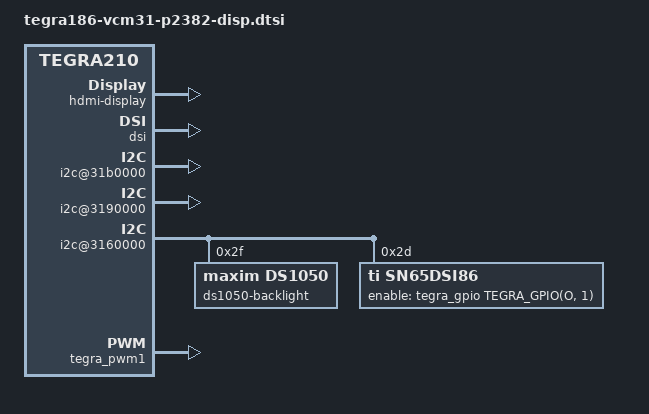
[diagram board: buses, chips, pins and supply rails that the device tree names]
/*
 * tegra186-vcm31-p2382-disp.dtsi: VCM3.1 based P2382(sunstreaker)
 * display dtsi.
 *
 * Copyright (c) 2015-2017, NVIDIA CORPORATION.  All rights reserved.
 *
 * This program is free software; you can redistribute it and/or modify
 * it under the terms of the GNU General Public License as published by
 * the Free Software Foundation; version 2 of the License.
 *
 * This program is distributed in the hope that it will be useful, but WITHOUT
 * ANY WARRANTY; without even the implied warranty of MERCHANTABILITY or
 * FITNESS FOR A PARTICULAR PURPOSE.  See the GNU General Public License for
 * more details.
 */

#include <dt-bindings/display/tegra-dc.h>
#include <dt-bindings/display/tegra-panel.h>

#include "panel-s-wuxga-8-0.dtsi"
#include "tegra210-display-p2393-0000-a00-panel-dsi-1080p.dtsi"
#include "tegra210-display-p2393-0000-a00-panel-dsi-25x16.dtsi"

/ {
	host1x {
		status = "okay";

		nvdisplay@15200000 {
			status = "okay";
			nvidia,dc-flags = <TEGRA_DC_FLAG_ENABLED>;
			nvidia,emc-clk-rate = <300000000>;
			nvidia,fb-bpp = <32>; /* bits per pixel */
			nvidia,fb-win = <0>;
			nvidia,dc-ctrlnum = <0>;
			nvidia,dc-or-node = "/host1x/sor";
		};

		nvdisplay@15210000 {
			status = "okay";
			nvidia,dc-flags = <TEGRA_DC_FLAG_ENABLED>;
			nvidia,emc-clk-rate = <300000000>;
			nvidia,fb-bpp = <32>; /* bits per pixel */
			nvidia,fb-win = <3>;
			nvidia,dc-ctrlnum = <1>;
			nvidia,dc-or-node = "/host1x/sor1";
		};

		sor{
			status = "okay";
			nvidia,xbar-ctrl = <2 1 0 3 4>;
			nvidia,ddc-i2c-bus = <&dp_aux_ch0_i2c>;
			//nvidia,hpd-gpio = <&tegra_gpio TEGRA_GPIO(P, 0) 0>;
			dp-display {
				status = "okay";
				compatible = "dp, display";
				nvidia,is_ext_dp_panel = <1>;

				disp-default-out {
					nvidia,out-type = <TEGRA_DC_OUT_DP>;
                                        nvidia,out-align = <TEGRA_DC_ALIGN_MSB>;
                                        nvidia,out-order = <TEGRA_DC_ORDER_RED_BLUE>;
					nvidia,out-flags = <TEGRA_DC_OUT_HOTPLUG_HIGH>;
                                        nvidia,out-pins = <TEGRA_DC_OUT_PIN_H_SYNC TEGRA_DC_OUT_PIN_POL_LOW
                                                           TEGRA_DC_OUT_PIN_V_SYNC TEGRA_DC_OUT_PIN_POL_LOW
                                                           TEGRA_DC_OUT_PIN_PIXEL_CLOCK TEGRA_DC_OUT_PIN_POL_LOW
                                                           TEGRA_DC_OUT_PIN_DATA_ENABLE TEGRA_DC_OUT_PIN_POL_HIGH>;
					nvidia,out-parent-clk = "plld3";
					nvidia,out-xres = <4096>;
					nvidia,out-yres = <2160>;
				};
				/* default display timing for test
				 * (only the first entry is effective) */
#ifdef CONFIG_ANDROID
				display-timings {
					1920x1080-32 {
						clock-frequency = <148500000>;
						hactive = <1920>;
						vactive = <1080>;
						hfront-porch = <88>;
						hback-porch = <148>;
						hsync-len = <44>;
						vfront-porch = <4>;
						vback-porch = <36>;
						vsync-len = <5>;
						nvidia,h-ref-to-sync = <1>;
						nvidia,v-ref-to-sync = <1>;
					};
				};
#endif
                                lt-data {
					tegra-dp-vs-regs {
						/* postcursor2 L0 */
						pc2_l0 = <
							/* pre-emphasis: L0, L1, L2, L3 */
							0x13 0x19 0x1E 0x28 /* voltage swing: L0 */
							0x1E 0x25 0x2D /* voltage swing: L1 */
							0x28 0x32 /* voltage swing: L2 */
							0x39 /* voltage swing: L3 */
						>;
						/* postcursor2 L1 */
						pc2_l1 = <
							/* pre-emphasis: L0, L1, L2, L3 */
							0x12 0x17 0x1B 0x25 /* voltage swing: L0 */
							0x1C 0x23 0x2A /* voltage swing: L1 */
							0x25 0x2F /* voltage swing: L2 */
							0x37 /* voltage swing: L3 */
						>;
						/* postcursor2 L2 */
						pc2_l2 = <
							/* pre-emphasis: L0, L1, L2, L3 */
							0x12 0x16 0x1A 0x22 /* voltage swing: L0 */
							0x1B 0x20 0x27 /* voltage swing: L1 */
							0x24 0x2D /* voltage swing: L2 */
							0x35 /* voltage swing: L3 */
						>;
						/* postcursor2 L3 */
						pc2_l3 = <
							/* pre-emphasis: L0, L1, L2, L3 */
							0x11 0x14 0x17 0x1F /* voltage swing: L0 */
							0x19 0x1E 0x24 /* voltage swing: L1 */
							0x22 0x2A /* voltage swing: L2 */
							0x32 /* voltage swing: L3 */
						>;
					};

					tegra-dp-pe-regs {
						/* postcursor2 L0 */
						pc2_l0 = <
							/* pre-emphasis: L0, L1, L2, L3 */
							0x00 0x08 0x12 0x24 /* voltage swing: L0 */
							0x01 0x0E 0x1D /* voltage swing: L1 */
							0x01 0x13 /* voltage swing: L2 */
							0x00 /* voltage swing: L3 */
						>;
						/* postcursor2 L1 */
						pc2_l1 = <
							/* pre-emphasis: L0, L1, L2, L3 */
							0x00 0x08 0x12 0x24 /* voltage swing: L0 */
							0x00 0x0E 0x1D /* voltage swing: L1 */
							0x00 0x13 /* voltage swing: L2 */
							0x00 /* voltage swing: L3 */
						>;
						/* postcursor2 L2 */
						pc2_l2 = <
							/* pre-emphasis: L0, L1, L2, L3 */
							0x00 0x08 0x12 0x24 /* voltage swing: L0 */
							0x00 0x0E 0x1D /* voltage swing: L1 */
							0x00 0x13 /* voltage swing: L2 */
							0x00 /* voltage swing: L3 */
						>;
						/* postcursor2 L3 */
						pc2_l3 = <
							/* pre-emphasis: L0, L1, L2, L3 */
							0x00 0x08 0x12 0x24 /* voltage swing: L0 */
							0x00 0x0E 0x1D /* voltage swing: L1 */
							0x00 0x13 /* voltage swing: L2 */
							0x00 /* voltage swing: L3 */
						>;
					};

					tegra-dp-pc-regs {
						/* postcursor2 L0 */
						pc2_l0 = <
							/* pre-emphasis: L0, L1, L2, L3 */
							0x02 0x00 0x00 0x00 /* voltage swing: L0 */
							0x00 0x00 0x00 /* voltage swing: L1 */
							0x00 0x00 /* voltage swing: L2 */
							0x00 /* voltage swing: L3 */
						>;
						/* postcursor2 L1 */
						pc2_l1 = <
							/* pre-emphasis: L0, L1, L2, L3 */
							0x00 0x02 0x04 0x05 /* voltage swing: L0 */
							0x02 0x04 0x05 /* voltage swing: L1 */
							0x04 0x05 /* voltage swing: L2 */
							0x05 /* voltage swing: L3 */
						>;
						/* postcursor2 L2 */
						pc2_l2 = <
							/* pre-emphasis: L0, L1, L2, L3 */
							0x04 0x05 0x08 0x0B /* voltage swing: L0 */
							0x05 0x09 0x0B /* voltage swing: L1 */
							0x08 0x0A /* voltage swing: L2 */
							0x0B /* voltage swing: L3 */
						>;
						/* postcursor2 L3 */
						pc2_l3 = <
							/* pre-emphasis: L0, L1, L2, L3 */
							0x05 0x09 0x0B 0x12 /* voltage swing: L0 */
							0x09 0x0D 0x12 /* voltage swing: L1 */
							0x0B 0x0F /* voltage swing: L2 */
							0x12 /* voltage swing: L3 */
						>;
					};

					tegra-dp-tx-pu {
						/* postcursor2 L0 */
						pc2_l0 = <
							/* pre-emphasis: L0, L1, L2, L3 */
							0x20 0x30 0x40 0x60 /* voltage swing: L0 */
							0x30 0x40 0x60 /* voltage swing: L1 */
							0x40 0x60 /* voltage swing: L2 */
							0x60 /* voltage swing: L3 */
						>;
						/* postcursor2 L1 */
						pc2_l1 = <
							/* pre-emphasis: L0, L1, L2, L3 */
							0x20 0x20 0x30 0x50 /* voltage swing: L0 */
							0x30 0x40 0x50 /* voltage swing: L1 */
							0x40 0x50 /* voltage swing: L2 */
							0x60 /* voltage swing: L3 */
						>;
						/* postcursor2 L2 */
						pc2_l2 = <
							/* pre-emphasis: L0, L1, L2, L3 */
							0x20 0x20 0x30 0x40 /* voltage swing: L0 */
							0x30 0x30 0x40 /* voltage swing: L1 */
							0x40 0x50 /* voltage swing: L2 */
							0x60 /* voltage swing: L3 */
						>;
						/* postcursor2 L3 */
						pc2_l3 = <
							/* pre-emphasis: L0, L1, L2, L3 */
							0x20 0x20 0x20 0x40 /* voltage swing: L0 */
							0x30 0x30 0x40 /* voltage swing: L1 */
							0x40 0x40 /* voltage swing: L2 */
							0x60 /* voltage swing: L3 */
						>;
					};
                                };//lt-data

                                dp-lt-settings {
                                        lt-setting@0 {
                                                nvidia,drive-current = <DRIVE_CURRENT_L0 DRIVE_CURRENT_L0 DRIVE_CURRENT_L0 DRIVE_CURRENT_L0>;
                                                nvidia,lane-preemphasis = <PRE_EMPHASIS_L0 PRE_EMPHASIS_L0 PRE_EMPHASIS_L0 PRE_EMPHASIS_L0>;
                                                nvidia,post-cursor = <POST_CURSOR2_L0 POST_CURSOR2_L0 POST_CURSOR2_L0 POST_CURSOR2_L0>;
                                                nvidia,tx-pu = <0>;
                                                nvidia,load-adj = <0x3>;
                                        };
                                        lt-setting@1 {
                                                nvidia,drive-current = <DRIVE_CURRENT_L0 DRIVE_CURRENT_L0 DRIVE_CURRENT_L0 DRIVE_CURRENT_L0>;
                                                nvidia,lane-preemphasis = <PRE_EMPHASIS_L0 PRE_EMPHASIS_L0 PRE_EMPHASIS_L0 PRE_EMPHASIS_L0>;
                                                nvidia,post-cursor = <POST_CURSOR2_L0 POST_CURSOR2_L0 POST_CURSOR2_L0 POST_CURSOR2_L0>;
                                                nvidia,tx-pu = <0>;
                                                nvidia,load-adj = <0x4>;
                                        };
                                        lt-setting@2 {
                                                nvidia,drive-current = <DRIVE_CURRENT_L0 DRIVE_CURRENT_L0 DRIVE_CURRENT_L0 DRIVE_CURRENT_L0>;
                                                nvidia,lane-preemphasis = <PRE_EMPHASIS_L1 PRE_EMPHASIS_L1 PRE_EMPHASIS_L1 PRE_EMPHASIS_L1>;
                                                nvidia,post-cursor = <POST_CURSOR2_L0 POST_CURSOR2_L0 POST_CURSOR2_L0 POST_CURSOR2_L0>;
                                                nvidia,tx-pu = <0>;
                                                nvidia,load-adj = <0x6>;
                                        };
                                };//dp-lt_settings
			};//dp-display
			hdmi-display {
				status = "disabled";
			};

			prod-settings {
				prod_c_dp {
					prod = <
						0x0000058C 0x0F0F0F00 0x05050300
						0x00000590 0x00000100 0x00000100
						0x00000594 0xF0000000 0x00000000
						0x00000598 0x00000FF0 0x00000440
						0x0000059C 0x00401800 0x00000000
						0x000005A8 0xFF000000 0x34000000
					>;
				};
			};
		};

		sor1 {
			status = "okay";
			nvidia,xbar-ctrl = <2 1 0 3 4>;
			nvidia,ddc-i2c-bus = <&dp_aux_ch1_i2c>;
			nvidia,hpd-gpio = <&tegra_gpio TEGRA_GPIO(P, 1) 1>;

			hdmi-display {
				status = "okay";
				compatible = "hdmi,display";

				disp-default-out {
					nvidia,out-type = <TEGRA_DC_OUT_HDMI>;
					nvidia,out-flags = <TEGRA_DC_OUT_HOTPLUG_LOW>;
					nvidia,out-parent-clk = "plld2";
					nvidia,out-align = <TEGRA_DC_ALIGN_MSB>;
					nvidia,out-order = <TEGRA_DC_ORDER_RED_BLUE>;
					nvidia,out-xres = <4096>;
					nvidia,out-yres = <2160>;
				};
				/* default display timing for test
				 * (only the first entry is effective) */
/*
				display-timings {
					1920x1080-32 {
						clock-frequency = <148500000>;
						hactive = <1920>;
						vactive = <1080>;
						hfront-porch = <88>;
						hback-porch = <148>;
						hsync-len = <44>;
						vfront-porch = <4>;
						vback-porch = <36>;
						vsync-len = <5>;
						nvidia,h-ref-to-sync = <1>;
						nvidia,v-ref-to-sync = <1>;
					};
				};
*/
			};
		};

		dpaux@155c0000 {
			status = "okay";
		};
		dpaux@15040000 {
			status = "okay";
		};

		dsi {   /* dsi@15300000 */
			status = "okay";
			nvidia,dsi-controller-vs = <DSI_VS_1>;
			nvidia,enable-hs-clk-in-lp-mode = <0>;
			panel-s-wuxga-8-0 {
				status = "disabled";
			};
			panel-dsi-1080p-p2382 {  /* p2393 DSI2DP 1920x1080@60 */
				status = "okay";
				nvidia,dsi-video-burst-mode = <TEGRA_DSI_VIDEO_NONE_BURST_MODE>;
				nvidia,dsi-refresh-rate = <60>;
				nvidia,dsi-edp-bridge = <TEGRA_DSI_ENABLE>;
				nvidia,panel-bridge-en-0-gpio = <&tegra_gpio TEGRA_GPIO(O, 1) 0>; /* PO1 */

				/*
				 * for 1920x1080@60Hz@148.5MHz / DSI 4 lanes 445.5MHz HS clk
				 */
				nvidia,dsi-n-data-lanes = <4>;
				disp-default-out {
					nvidia,out-type = <TEGRA_DC_OUT_DSI>;
					nvidia,out-flags = <TEGRA_DC_OUT_CONTINUOUS_MODE>;
					nvidia,out-parent-clk = "pll_d_out1";
					nvidia,out-xres = <1920>;
					nvidia,out-yres = <1080>;
				};
				display-timings {
					1920x1080-32 {
						clock-frequency = <148500000>;
					};
				};

				/*
				 * for 1920x1200@60Hz@193.2MHz / DSI 8 lanes 290MHz HS clk
				 * (closest to Quill DSI config. this works without BPMP pll_d preset)
				 */
				/*
				nvidia,dsi-n-data-lanes = <8>;
				nvidia,dsi-ganged-type = <TEGRA_DSI_GANGED_SYMMETRIC_LEFT_RIGHT>;
				nvidia,dsi-ganged-swap-links = <0>;
				nvidia,dsi-ganged-write-to-all-links = <1>;
				disp-default-out {
					nvidia,out-type = <TEGRA_DC_OUT_DSI>;
					nvidia,out-flags = <TEGRA_DC_OUT_CONTINUOUS_MODE>;
					nvidia,out-parent-clk = "pll_d_out1";
					nvidia,out-xres = <1920>;
					nvidia,out-yres = <1200>;
				};
				display-timings {
					1920x1080-32 {
						clock-frequency = <193155840>;
						hactive = <1920>;
						vactive = <1200>;
						hfront-porch = <228>;
						hsync-len = <208>;
						hback-porch = <236>;
						vfront-porch = <3>;
						vsync-len = <3>;
						vback-porch = <36>;
						nvidia,h-ref-to-sync = <1>;
						nvidia,v-ref-to-sync = <1>;
					};
				};
				*/

			};
			panel-s-wqxga-10-1 {  /* p2393 DSI2DP 2560x1600@60 */
				status = "disabled";
				nvidia,dsi-edp-bridge = <TEGRA_DSI_ENABLE>;
				nvidia,panel-bridge-en-0-gpio = <&tegra_gpio TEGRA_GPIO(O, 1) 0>; /* PO1 */
				nvidia,dsi-n-data-lanes = <8>;
				nvidia,dsi-ganged-type = <TEGRA_DSI_GANGED_SYMMETRIC_LEFT_RIGHT>;
				nvidia,dsi-ganged-swap-links = <0>;
				nvidia,dsi-ganged-write-to-all-links = <1>;
				disp-default-out {
					nvidia,out-type = <TEGRA_DC_OUT_DSI>;
					nvidia,out-flags = <TEGRA_DC_OUT_CONTINUOUS_MODE>;
					nvidia,out-parent-clk = "pll_d_out1";
					nvidia,out-xres = <2560>;
					nvidia,out-yres = <1600>;
				};
				display-timings {
					2560x1600-32 {
						clock-frequency = <268500000>;
						hactive = <2560>;
						vactive = <1600>;
						hfront-porch = <48>;
						hback-porch = <80>;
						hsync-len = <32>;
						vfront-porch = <3>;
						vback-porch = <37>;
						vsync-len = <6>;
						nvidia,h-ref-to-sync = <0>;
						nvidia,v-ref-to-sync = <1>;
					};
				};
			};
		};
	};

	i2c@31b0000 {  //i2c5, dp_aux_ch0_i2c
		status = "okay";
	};
	i2c@3190000 {  //i2c3, dp_aux_ch1_i2c
		status = "okay";
	};

	i2c@3160000 { /* Tegra I2C0 - VCM I2CA */
		ds1050-backlight@2f {
			 compatible = "maxim,ds1050";
			 reg = <0x2f>;
			 status = "okay";
		};
	};

	/*
	 * for P2393 SN65DSI86 DSI-to-DP bridge
	 */
	mipical {
		status = "okay";
	};

	backlight {
		pwms = <&tegra_pwm1 0 40161>;
		panel-s-wuxga-8-0-bl {
			pwms = <&tegra_pwm1 0 40161>;
		};
		panel-s-wqxga-10-1-bl {
			pwms = <&tegra_pwm1 0 40161>;
		};
	};
	tegra_pwm1: pwm@3280000 {
		status = "okay";
	};

	i2c@3160000 { /* GEN1 */
		status = "okay";
		/*
		 * TI SN65DSI86 DSI-to-eDP bridge chip on P2393 AIC card
		 */
		sn65dsi86@2d {
			compatible = "ti,sn65dsi86";
			reg = <0x2d>;
			status = "okay";
			ti,enable-gpio = <&tegra_gpio TEGRA_GPIO(O, 1) 0>;
			ti,pll-refclk-cfg = <0x4>;
			ti,disable-assr = <1>;
			ti,dp-ssc-cfg = <0x30>;
		};
	};

};
